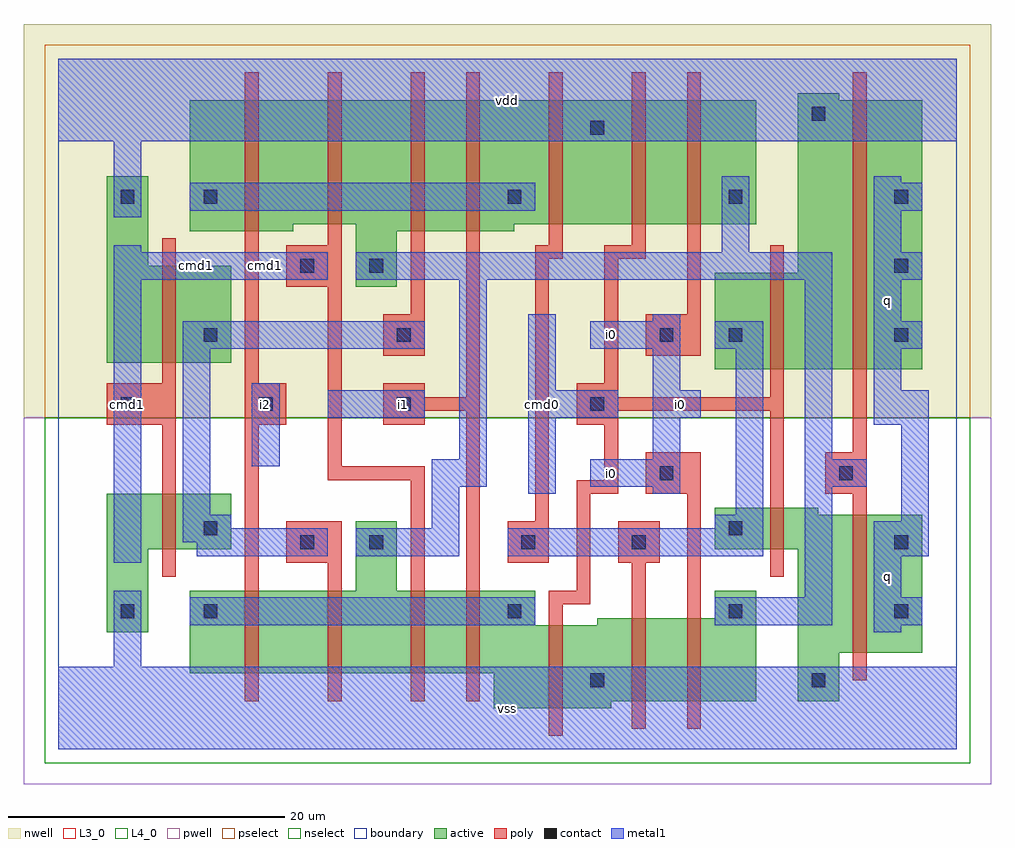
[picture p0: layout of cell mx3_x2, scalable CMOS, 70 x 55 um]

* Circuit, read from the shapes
.subckt mx3_x2 cmd0 cmd1 i0 i1 i2 q vdd vss
M1 n1 cmd1 vss VSUBS nfet w=4u l=1u
M2 n2 i2 n3 VSUBS nfet w=6u l=1u
M3 n4 n1 n2 VSUBS nfet w=6u l=1u
M4 n5 cmd1 n4 VSUBS nfet w=6u l=1u
M5 n3 i1 n5 VSUBS nfet w=6u l=1u
M6 vss cmd0 n3 VSUBS nfet w=6u l=1u
M7 n6 n7 vss VSUBS nfet w=6u l=1u
M8 n4 i0 n6 VSUBS nfet w=6u l=1u
M9 vss cmd0 n7 VSUBS nfet w=3u l=1u
M10 q n4 vss VSUBS nfet w=10u l=1u
M11 n1 cmd1 vdd n8 pfet w=7u l=1u
M12 n9 i2 n10 n8 pfet w=9.5u l=1u
M13 n4 cmd1 n9 n8 pfet w=9u l=1u
M14 n11 n1 n4 n8 pfet w=9.5u l=1u
M15 n10 i1 n11 n8 pfet w=9.5u l=1u
M16 vdd n7 n10 n8 pfet w=9u l=1u
M17 n12 cmd0 vdd n8 pfet w=9u l=1u
M18 n4 i0 n12 n8 pfet w=9u l=1u
M19 vdd cmd0 n7 n8 pfet w=7u l=1u
M20 q n4 vdd n8 pfet w=19.5u l=1u
.ends

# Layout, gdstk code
import gdstk
lib = gdstk.Library(unit=1e-6, precision=1e-09)
def R(c, l, rs):  # rectangles x0, y0, x1, y1
    for r in rs: c.add(gdstk.rectangle(r[:2], r[2:], *l))
def A(c, l, x, y, w, h, nx, ny, dx, dy):  # array of equal rectangles
    R(c, l, [(x+i*dx, y+j*dy, x+i*dx+w, y+j*dy+h) for i in range(nx) for j in range(ny)])
L3_0 = (3, 0)
L4_0 = (4, 0)
contact = (25, 0)
pwell = (41, 0)
nwell = (42, 0)
active = (43, 0)
pselect = (44, 0)
nselect = (45, 0)
poly = (46, 0)
metal1 = (49, 0)
boundary = (63, 0)

mx3_x2 = lib.new_cell('mx3_x2')
R(mx3_x2, L3_0, [(31.5,3,40,3.5), (31.5,3.5,50.5,5.5), (53.5,3.5,56.5,7), (9.5,5.5,50.5,9), (53.5,7,62.5,14.5), (3.5,8.5,6.5,14.5), (9.5,9,34.5,11.5), (39,9,50.5,9.5), (47.5,9.5,50.5,11.5), (21.5,11.5,24.5,16.5), (3.5,14.5,12.5,18.5), (47.5,14.5,62.5,17), (47.5,17,55,17.5)])
R(mx3_x2, L4_0, [(47.5,27.5,62.5,34.5), (3.5,28,12.5,35), (21.5,33.5,24.5,37.5), (53.5,34.5,62.5,47), (3.5,35,6.5,41.5), (9.5,37.5,17,38), (21.5,37.5,33,38), (9.5,38,50.5,47), (53.5,47,56.5,47.5)])
A(mx3_x2, contact, 38.5, 4.5, 1, 1, 1, 3, 0, 20)
A(mx3_x2, contact, 4.5, 24.5, 1, 1, 3, 1, 10, 0)
A(mx3_x2, contact, 60.5, 29.5, 1, 1, 1, 3, 0, 5)
R(mx3_x2, contact, [(54.5,4.5,55.5,5.5), (4.5,9.5,5.5,10.5), (10.5,9.5,11.5,10.5), (32.5,9.5,33.5,10.5), (48.5,9.5,49.5,10.5), (60.5,9.5,61.5,10.5), (17.5,14.5,18.5,15.5), (22.5,14.5,23.5,15.5), (33.5,14.5,34.5,15.5), (41.5,14.5,42.5,15.5), (60.5,14.5,61.5,15.5), (10.5,15.5,11.5,16.5), (48.5,15.5,49.5,16.5), (43.5,19.5,44.5,20.5), (56.5,19.5,57.5,20.5), (10.5,29.5,11.5,30.5), (24.5,29.5,25.5,30.5), (43.5,29.5,44.5,30.5), (48.5,29.5,49.5,30.5), (17.5,34.5,18.5,35.5), (22.5,34.5,23.5,35.5), (4.5,39.5,5.5,40.5), (10.5,39.5,11.5,40.5), (32.5,39.5,33.5,40.5), (48.5,39.5,49.5,40.5), (54.5,45.5,55.5,46.5)])
R(mx3_x2, pwell, [(-2.5,-2.5,67.5,24)])
R(mx3_x2, nwell, [(-2.5,24,67.5,52.5)])
R(mx3_x2, active, [(31.5,3,40,3.5), (31.5,3.5,50.5,5.5), (53.5,3.5,56.5,7), (9.5,5.5,50.5,9), (53.5,7,62.5,14.5), (3.5,8.5,6.5,14.5), (9.5,9,34.5,11.5), (39,9,50.5,9.5), (47.5,9.5,50.5,11.5), (21.5,11.5,24.5,16.5), (3.5,14.5,12.5,18.5), (47.5,14.5,62.5,17), (47.5,17,55,17.5), (47.5,27.5,62.5,34.5), (3.5,28,12.5,35), (21.5,33.5,24.5,37.5), (53.5,34.5,62.5,47), (3.5,35,6.5,41.5), (9.5,37.5,17,38), (21.5,37.5,33,38), (9.5,38,50.5,47), (53.5,47,56.5,47.5)])
R(mx3_x2, pselect, [(-1,24,66,51)])
R(mx3_x2, nselect, [(-1,-1,66,24)])
R(mx3_x2, poly, [(35.5,1,36.5,10.5), (41.5,1.5,42.5,13.5), (45.5,1.5,46.5,18.5), (13.5,3.5,14.5,23.5), (19.5,3.5,20.5,13.5), (25.5,3.5,26.5,19.5), (29.5,3.5,30.5,24.5), (57.5,5,58.5,18.5), (35.5,10.5,38.5,11.5), (37.5,11.5,38.5,18.5), (7.5,12.5,8.5,23.5), (51.5,12.5,52.5,24.5), (16.5,13.5,20.5,16.5), (32.5,13.5,35.5,16.5), (40.5,13.5,43.5,16.5), (34.5,16.5,35.5,35.5), (37.5,18.5,40.5,19.5), (42.5,18.5,46.5,21.5), (55.5,18.5,58.5,21.5), (19.5,19.5,26.5,20.5), (39.5,19.5,40.5,23.5), (19.5,20.5,20.5,33.5), (57.5,21.5,58.5,49), (3.5,23.5,8.5,26.5), (13.5,23.5,16.5,26.5), (23.5,23.5,26.5,24.5), (37.5,23.5,40.5,24.5), (23.5,24.5,30.5,25.5), (37.5,24.5,52.5,25.5), (23.5,25.5,26.5,26.5), (29.5,25.5,30.5,49), (37.5,25.5,40.5,26.5), (51.5,25.5,52.5,36.5), (7.5,26.5,8.5,37), (13.5,26.5,14.5,49), (39.5,26.5,40.5,35.5), (23.5,28.5,26.5,31.5), (42.5,28.5,46.5,31.5), (25.5,31.5,26.5,49), (45.5,31.5,46.5,49), (16.5,33.5,20.5,36.5), (34.5,35.5,36.5,36.5), (39.5,35.5,42.5,36.5), (19.5,36.5,20.5,49), (35.5,36.5,36.5,49), (41.5,36.5,42.5,49)])
R(mx3_x2, metal1, [(0,0,65,6), (0,0,65,6), (4,6,6,11.5), (4,6,6,11.5), (59,8.5,61,9), (59,8.5,61,9), (9.5,9,34.5,11), (9.5,9,34.5,11), (47.5,9,56,11), (47.5,9,56,11), (59,9,62.5,11), (59,9,62.5,11), (54,11,56,19), (54,11,56,19), (59,11,61,14), (59,11,61,14), (4,13.5,6,34), (4,13.5,6,34), (10,14,19.5,15), (10,14,19.5,15), (21.5,14,29,16), (21.5,14,29,16), (32.5,14,51,16), (32.5,14,51,16), (59,14,63,16.5), (59,14,63,16.5), (9,15,19.5,16), (9,15,19.5,16), (9,16,12.5,17), (9,16,12.5,17), (27,16,29,19), (27,16,29,19), (47.5,16,51,17), (47.5,16,51,17), (61,16.5,63,23.5), (61,16.5,63,23.5), (9,17,11,29), (9,17,11,29), (49,17,51,29), (49,17,51,29), (34,18.5,36,24), (34,18.5,36,24), (43,18.5,45,19), (43,18.5,45,19), (27,19,31,21), (27,19,31,21), (38.5,19,45,21), (38.5,19,45,21), (54,19,58.5,21), (54,19,58.5,21), (14,20.5,16,26.5), (14,20.5,16,26.5), (29,21,31,34), (29,21,31,34), (43,21,45,24), (43,21,45,24), (54,21,56,34), (54,21,56,34), (59,23.5,63,26), (59,23.5,63,26), (19.5,24,26.5,26), (19.5,24,26.5,26), (34,24,40.5,26), (34,24,40.5,26), (43,24,46.5,26), (43,24,46.5,26), (34,26,36,31.5), (34,26,36,31.5), (43,26,45,29), (43,26,45,29), (59,26,61,29), (59,26,61,29), (9,29,26.5,31), (9,29,26.5,31), (38.5,29,45,31), (38.5,29,45,31), (47.5,29,51,31), (47.5,29,51,31), (59,29,62.5,31), (59,29,62.5,31), (43,31,45,31.5), (43,31,45,31.5), (59,31,61,34), (59,31,61,34), (4,34,19.5,36), (4,34,19.5,36), (21.5,34,56,36), (21.5,34,56,36), (59,34,62.5,36), (59,34,62.5,36), (4,36,6,36.5), (4,36,6,36.5), (48,36,50,41.5), (48,36,50,41.5), (59,36,61,39), (59,36,61,39), (4,38.5,6,44), (4,38.5,6,44), (9.5,39,34.5,41), (9.5,39,34.5,41), (59,39,62.5,41), (59,39,62.5,41), (59,41,61,41.5), (59,41,61,41.5), (0,44,65,50), (0,44,65,50)])
R(mx3_x2, boundary, [(0,0,65,50)])
mx3_x2.add(gdstk.Label('cmd1', (5,25), layer=49, texttype=0))
mx3_x2.add(gdstk.Label('cmd1', (10,35), layer=49, texttype=0))
mx3_x2.add(gdstk.Label('i2', (15,25), layer=49, texttype=0))
mx3_x2.add(gdstk.Label('cmd1', (15,35), layer=49, texttype=0))
mx3_x2.add(gdstk.Label('vss', (32.5,3), layer=49, texttype=0))
mx3_x2.add(gdstk.Label('i1', (25,25), layer=49, texttype=0))
mx3_x2.add(gdstk.Label('cmd0', (35,25), layer=49, texttype=0))
mx3_x2.add(gdstk.Label('vdd', (32.5,47), layer=49, texttype=0))
mx3_x2.add(gdstk.Label('i0', (40,20), layer=49, texttype=0))
mx3_x2.add(gdstk.Label('i0', (45,25), layer=49, texttype=0))
mx3_x2.add(gdstk.Label('i0', (40,30), layer=49, texttype=0))
mx3_x2.add(gdstk.Label('q', (60,12.5), layer=49, texttype=0))
mx3_x2.add(gdstk.Label('q', (60,32.5), layer=49, texttype=0))

lib.write_gds('mx3_x2.gds')
